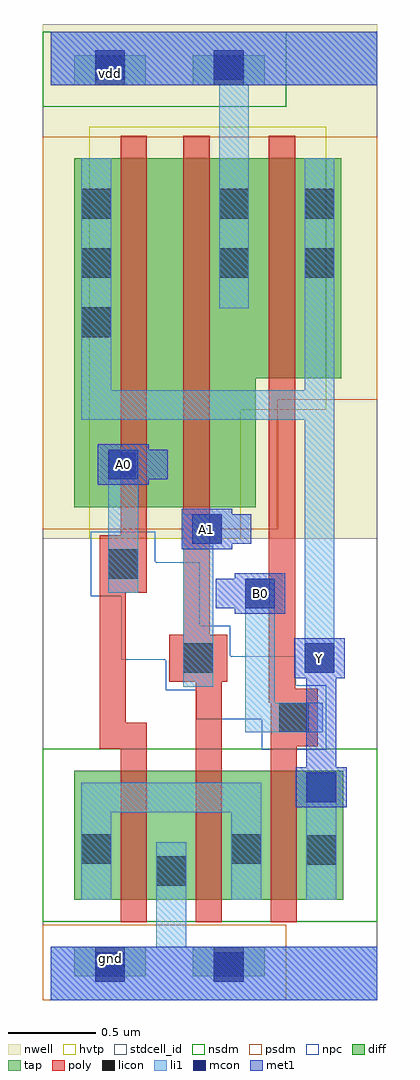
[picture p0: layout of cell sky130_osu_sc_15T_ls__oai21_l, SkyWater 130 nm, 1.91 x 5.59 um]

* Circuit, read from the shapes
.subckt sky130_osu_sc_15T_ls__oai21_l A0 A1 B0 Y gnd vdd
XM1 gnd A0 n1 gnd sky130_fd_pr__nfet_01v8 w=0.74 l=0.15
XM2 n1 A1 gnd gnd sky130_fd_pr__nfet_01v8 w=0.74 l=0.15
XM3 Y B0 n1 gnd sky130_fd_pr__nfet_01v8 w=0.74 l=0.15
XM4 n2 A0 Y vdd sky130_fd_pr__pfet_01v8_hvt w=2 l=0.15
XM5 vdd A1 n2 vdd sky130_fd_pr__pfet_01v8_hvt w=2 l=0.15
XM6 Y B0 vdd vdd sky130_fd_pr__pfet_01v8_hvt w=1.26 l=0.15
.ends

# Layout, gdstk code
import gdstk
lib = gdstk.Library(unit=1e-6, precision=1e-09)
def R(c, l, rs):  # rectangles x0, y0, x1, y1
    for r in rs: c.add(gdstk.rectangle(r[:2], r[2:], *l))
def A(c, l, x, y, w, h, nx, ny, dx, dy):  # array of equal rectangles
    R(c, l, [(x+i*dx, y+j*dy, x+i*dx+w, y+j*dy+h) for i in range(nx) for j in range(ny)])
nwell = (64, 20)
diff = (65, 20)
tap = (65, 44)
poly = (66, 20)
licon = (66, 44)
li1 = (67, 20)
mcon = (67, 44)
met1 = (68, 20)
hvtp = (78, 44)
stdcell_id = (81, 4)
nsdm = (93, 44)
psdm = (94, 20)
npc = (95, 20)

sky130_osu_sc_15t_ls__oa = lib.new_cell('sky130_osu_sc_15T_ls__oai21_l')
R(sky130_osu_sc_15t_ls__oa, nwell, [(-0.045,2.645,1.87,5.595)])
R(sky130_osu_sc_15t_ls__oa, diff, [(0.135,0.575,1.675,1.315), (0.135,2.825,1.175,3.565), (0.135,3.565,1.665,4.825)])
R(sky130_osu_sc_15t_ls__oa, tap, [(0.135,0.135,0.545,0.305), (0.815,0.135,1.225,0.305), (0.135,5.245,0.545,5.415), (0.815,5.245,1.225,5.415)])
R(sky130_osu_sc_15t_ls__oa, poly, [(0.4,0.445,0.55,1.44), (0.83,0.445,0.98,1.825), (1.26,0.445,1.41,1.455), (0.28,1.44,0.55,1.59), (1.26,1.455,1.53,1.705), (0.28,1.59,0.43,2.335), (1.25,1.705,1.53,1.785), (1.25,1.785,1.4,4.955), (0.68,1.825,1.01,2.095), (0.76,2.095,0.91,4.955), (0.28,2.335,0.55,2.665), (0.4,2.665,0.55,4.955)])
A(sky130_osu_sc_15t_ls__oa, licon, 0.175, 3.8, 0.17, 0.17, 1, 3, 0, 0.34)
R(sky130_osu_sc_15t_ls__oa, licon, [(0.255,0.135,0.425,0.305), (0.935,0.135,1.105,0.305), (0.605,0.655,0.775,0.825), (1.465,0.775,1.635,0.945), (0.175,0.78,0.345,0.95), (1.035,0.78,1.205,0.95), (1.31,1.535,1.48,1.705), (0.76,1.875,0.93,2.045), (0.33,2.415,0.5,2.585), (0.965,4.14,1.135,4.31), (1.455,4.14,1.625,4.31), (0.965,4.48,1.135,4.65), (1.455,4.48,1.625,4.65), (0.255,5.245,0.425,5.415), (0.935,5.245,1.105,5.415)])
R(sky130_osu_sc_15t_ls__oa, li1, [(0,0,1.87,0.305), (0.605,0.305,0.775,0.905), (0.175,0.575,0.345,1.075), (1.035,0.575,1.205,1.075), (1.465,0.575,1.635,1.305), (0.175,1.075,1.205,1.245), (1.115,1.535,1.56,1.705), (1.115,1.705,1.285,2.415), (0.76,1.795,0.93,2.615), (1.455,1.875,1.625,3.325), (0.33,2.335,0.5,3.155), (0.76,2.615,0.98,2.785), (0.175,3.325,1.625,3.495), (0.175,3.495,0.345,4.825), (1.455,3.495,1.625,4.825), (0.965,3.965,1.135,5.245), (0,5.245,1.87,5.55)])
R(sky130_osu_sc_15t_ls__oa, mcon, [(0.255,0.105,0.425,0.275), (0.935,0.105,1.105,0.275), (1.465,1.135,1.635,1.305), (1.455,1.875,1.625,2.045), (1.115,2.245,1.285,2.415), (0.81,2.615,0.98,2.785), (0.33,2.985,0.5,3.155), (0.255,5.275,0.425,5.445), (0.935,5.275,1.105,5.445)])
R(sky130_osu_sc_15t_ls__oa, met1, [(0,0,1.87,0.305), (1.405,1.105,1.695,1.335), (1.465,1.335,1.635,1.845), (1.395,1.845,1.685,2.075), (1.055,2.215,1.345,2.245), (0.945,2.245,1.345,2.415), (1.055,2.415,1.345,2.445), (0.75,2.585,1.04,2.615), (0.75,2.615,1.15,2.785), (0.75,2.785,1.04,2.815), (0.27,2.955,0.56,2.985), (0.27,2.985,0.67,3.155), (0.27,3.155,0.56,3.185), (0,5.245,1.87,5.55)])
R(sky130_osu_sc_15t_ls__oa, hvtp, [(0.22,2.645,1.09,3.385), (0.22,3.385,1.58,5.005)])
R(sky130_osu_sc_15t_ls__oa, stdcell_id, [(-0.045,0,1.87,5.55)])
R(sky130_osu_sc_15t_ls__oa, nsdm, [(-0.045,0.45,1.87,1.44), (-0.045,5.12,1.35,5.55)])
R(sky130_osu_sc_15t_ls__oa, psdm, [(-0.045,0,1.35,0.43), (-0.045,2.7,1.3,3.44), (-0.045,3.44,1.87,4.95)])
R(sky130_osu_sc_15t_ls__oa, npc, [(1.21,1.435,1.58,1.61), (0.835,1.61,1.58,1.775), (0.66,1.775,1.58,1.805), (0.66,1.805,1.405,1.95), (0.405,1.95,1.405,1.97), (0.405,1.97,1.03,2.145), (0.405,2.145,0.855,2.315), (0.23,2.315,0.855,2.51), (0.23,2.51,0.6,2.685)])
sky130_osu_sc_15t_ls__oa.add(gdstk.Label('gnd', (0.34,0.24), layer=68, texttype=16))
sky130_osu_sc_15t_ls__oa.add(gdstk.Label('vdd', (0.34,5.31), layer=68, texttype=16))
sky130_osu_sc_15t_ls__oa.add(gdstk.Label('A0', (0.415,3.07), layer=68, texttype=5))
sky130_osu_sc_15t_ls__oa.add(gdstk.Label('A1', (0.895,2.7), layer=68, texttype=5))
sky130_osu_sc_15t_ls__oa.add(gdstk.Label('Y', (1.54,1.96), layer=68, texttype=5))
sky130_osu_sc_15t_ls__oa.add(gdstk.Label('B0', (1.2,2.33), layer=68, texttype=5))

lib.write_gds('sky130_osu_sc_15T_ls__oai21_l.gds')
